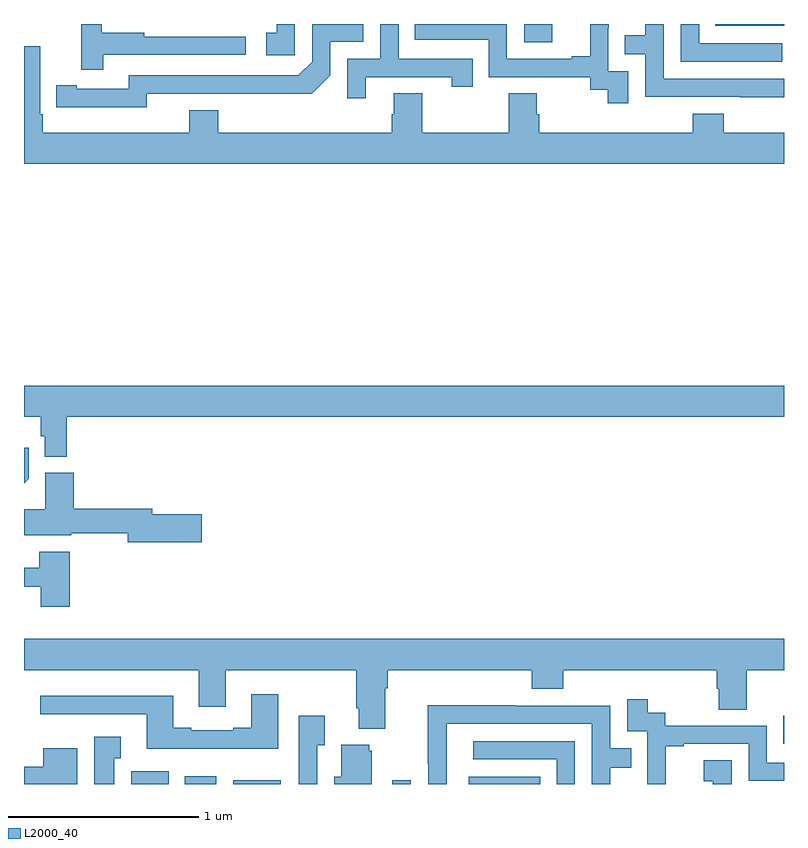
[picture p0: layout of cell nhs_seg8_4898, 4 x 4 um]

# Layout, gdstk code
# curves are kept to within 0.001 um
import gdstk
lib = gdstk.Library(unit=1e-6, precision=1e-09)
def R(c, l, rs):  # rectangles x0, y0, x1, y1
    for r in rs: c.add(gdstk.rectangle(r[:2], r[2:], *l))
def P(c, l, *ps):  # polygons
    for p in ps: c.add(gdstk.Polygon(p, *l))
L2000_40 = (2000, 40)

nhs_seg8_4898 = lib.new_cell('nhs_seg8_4898')
R(nhs_seg8_4898, L2000_40, [(407.564,1115.9,407.761,1115.968), (407.846,1115.9,408.013,1115.941), (408.101,1115.9,408.352,1115.92), (408.939,1115.9,409.035,1115.92), (409.34,1115.9,409.718,1115.938), (410.995,1116.111,411,1116.259), (409.632,1119.804,409.78,1119.9), (410.638,1119.89,411,1119.9)])
P(nhs_seg8_4898, L2000_40, [(411,1119.612),(410.367,1119.612),(410.367,1119.9),(410.271,1119.9),(410.271,1119.842),(410.161,1119.842),(410.161,1119.741),(410.271,1119.741),(410.271,1119.516),(410.767,1119.516),(410.767,1119.515),(411,1119.515)],
  [(408.426,1119.9),(408.329,1119.9),(408.329,1119.855),(408.276,1119.855),(408.276,1119.735),(408.426,1119.735)],
  [(408.799,1119.621),(409.25,1119.621),(409.25,1119.57),(409.361,1119.57),(409.361,1119.717),(408.972,1119.717),(408.972,1119.9),(408.876,1119.9),(408.876,1119.717),(408.702,1119.717),(408.702,1119.51),(408.799,1119.51)],
  [(410.992,1119.798),(410.553,1119.798),(410.553,1119.9),(410.457,1119.9),(410.457,1119.702),(410.992,1119.702)],
  [(410.181,1119.651),(410.076,1119.651),(410.076,1119.881),(410.078,1119.881),(410.078,1119.9),(409.979,1119.9),(409.979,1119.73),(409.883,1119.73),(409.883,1119.717),(409.542,1119.717),(409.542,1119.9),(409.057,1119.9),(409.057,1119.816),(409.446,1119.816),(409.446,1119.621),(409.98,1119.621),(409.98,1119.553),(410.073,1119.553),(410.073,1119.483),(410.181,1119.483)],
  [(407.417,1119.738),(408.166,1119.738),(408.166,1119.834),(407.633,1119.834),(407.633,1119.854),(407.41,1119.854),(407.41,1119.9),(407.3,1119.9),(407.3,1119.66),(407.417,1119.66)],
  [(407.646,1119.534),(408.514,1119.533),(408.612,1119.63),(408.612,1119.807),(408.786,1119.807),(408.786,1119.9),(408.516,1119.9),(408.516,1119.702),(408.444,1119.63),(407.55,1119.63),(407.55,1119.558),(407.278,1119.558),(407.278,1119.578),(407.17,1119.578),(407.17,1119.462),(407.646,1119.461)],
  [(411,1119.328),(410.684,1119.328),(410.684,1119.427),(410.519,1119.427),(410.519,1119.328),(409.712,1119.328),(409.712,1119.426),(409.699,1119.426),(409.699,1119.536),(409.552,1119.536),(409.552,1119.328),(409.095,1119.328),(409.095,1119.536),(408.947,1119.536),(408.947,1119.426),(408.935,1119.426),(408.935,1119.328),(408.023,1119.328),(408.023,1119.445),(407.87,1119.445),(407.87,1119.328),(407.099,1119.328),(407.099,1119.424),(407.085,1119.424),(407.085,1119.784),(407,1119.784),(407,1119.164),(411,1119.164)],
  [(407.225,1117.832),(411,1117.832),(411,1117.996),(407,1117.996),(407,1117.832),(407.089,1117.832),(407.089,1117.731),(407.109,1117.731),(407.109,1117.622),(407.225,1117.622)],
  [(407.024,1117.506),(407.024,1117.669),(407,1117.669),(407,1117.482)],
  [(407.935,1117.319),(407.674,1117.319),(407.674,1117.348),(407.261,1117.348),(407.261,1117.537),(407.111,1117.537),(407.111,1117.346),(407,1117.346),(407,1117.208),(407.248,1117.208),(407.248,1117.219),(407.546,1117.219),(407.546,1117.172),(407.935,1117.172)],
  [(407.24,1117.123),(407.08,1117.123),(407.08,1117.039),(407,1117.039),(407,1116.939),(407.087,1116.939),(407.087,1116.834),(407.24,1116.834)],
  [(408.901,1116.404),(408.914,1116.404),(408.914,1116.5),(409.673,1116.5),(409.673,1116.401),(409.838,1116.401),(409.838,1116.5),(410.645,1116.5),(410.645,1116.402),(410.657,1116.402),(410.657,1116.292),(410.805,1116.292),(410.805,1116.5),(411,1116.5),(411,1116.664),(407,1116.664),(407,1116.5),(407.921,1116.5),(407.921,1116.306),(408.061,1116.306),(408.061,1116.5),(408.749,1116.5),(408.749,1116.298),(408.761,1116.298),(408.761,1116.191),(408.901,1116.191)],
  [(408.337,1116.373),(408.197,1116.373),(408.197,1116.196),(408.101,1116.196),(408.101,1116.183),(407.881,1116.183),(407.881,1116.196),(407.785,1116.196),(407.785,1116.364),(407.085,1116.364),(407.085,1116.267),(407.645,1116.267),(407.645,1116.086),(408.337,1116.086)],
  [(410.378,1116.099),(410.473,1116.099),(410.473,1116.111),(410.814,1116.111),(410.814,1115.916),(411,1115.916),(411,1116.012),(410.91,1116.012),(410.91,1116.207),(410.376,1116.207),(410.376,1116.276),(410.284,1116.276),(410.284,1116.346),(410.175,1116.346),(410.175,1116.177),(410.28,1116.177),(410.28,1115.948),(410.279,1115.948),(410.279,1115.9),(410.378,1115.9)],
  [(409.224,1116.216),(409.989,1116.216),(409.989,1115.9),(410.085,1115.9),(410.085,1115.986),(410.195,1115.986),(410.195,1116.087),(410.085,1116.087),(410.085,1116.312),(409.589,1116.312),(409.589,1116.314),(409.126,1116.314),(409.126,1116.007),(409.128,1116.007),(409.128,1115.9),(409.224,1115.9)],
  [(408.543,1116.103),(408.583,1116.103),(408.583,1116.259),(408.447,1116.259),(408.447,1115.9),(408.543,1115.9)],
  [(407.476,1116.035),(407.509,1116.035),(407.509,1116.148),(407.369,1116.148),(407.369,1115.9),(407.476,1115.9)],
  [(409.899,1116.126),(409.365,1116.126),(409.365,1116.03),(409.803,1116.03),(409.803,1115.9),(409.899,1115.9)],
  [(408.829,1116.075),(408.818,1116.075),(408.818,1116.106),(408.671,1116.106),(408.671,1115.938),(408.632,1115.938),(408.632,1115.9),(408.829,1115.9)],
  [(407.281,1116.088),(407.102,1116.088),(407.102,1115.99),(407,1115.99),(407,1115.9),(407.281,1115.9)],
  [(410.724,1116.025),(410.577,1116.025),(410.577,1115.915),(410.626,1115.915),(410.626,1115.9),(410.724,1115.9)])

lib.write_gds('nhs_seg8_4898.gds')
